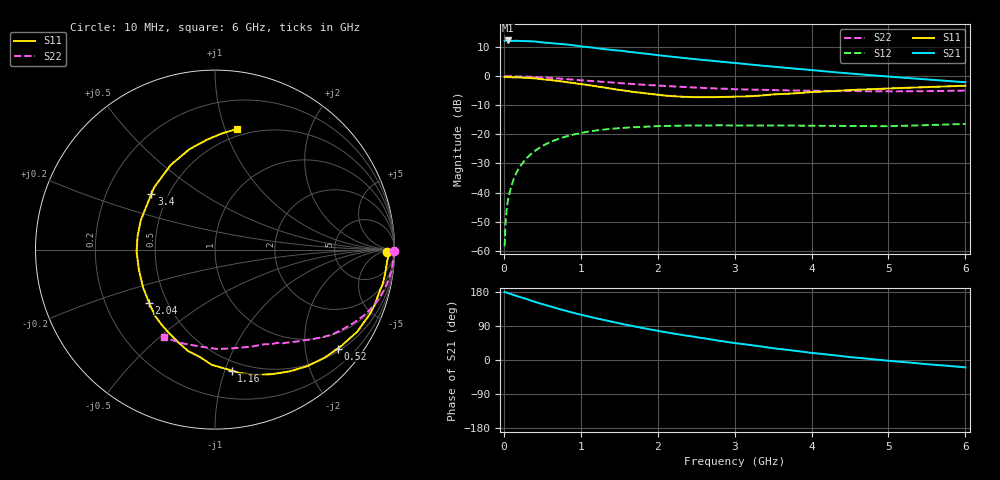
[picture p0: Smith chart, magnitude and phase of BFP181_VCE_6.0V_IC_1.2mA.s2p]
! Infineon Technologies  Discrete & RF Semiconductors
! BFP181
! VCE = 6.0 V,  IC =  1.2 mA
! Common Emitter S-Parameters:  Jan 2016
# GHz  S  MA  R  50
!  f  S11  S21  S12  S22
! GHz  MAG  ANG  MAG  ANG  MAG  ANG  MAG  ANG
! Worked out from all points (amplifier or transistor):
!   210 points, 10 MHz to 6 GHz, reference 50 ohm
!   highest |S21| = 12.2 dB at 50 MHz (marker M1)
!   |S21| within 3 dB of that: start of sweep to 1.315 GHz
!   unconditionally stable (mu >= 1): 2.975 GHz to end of sweep
!   at 185 MHz: K = 0.07, MSG = 22.1 dB, |S12| = -32.1 dB
!   at 1.52 GHz: K = 0.55, MSG = 13.3 dB, |S12| = -17.8 dB
!   at 6 GHz: K = 1.24, MAG = 4.2 dB, |S12| = -16.4 dB
!   S11 on the Smith chart (normalised r, x): 10 MHz: 44, -15; 520 MHz: 0.57, -2.73; 1.16 GHz: 0.42, -1.06; 2.04 GHz: 0.40, -0.30; 3.4 GHz: 0.40, +0.32; 6 GHz: 0.44, +1.10
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0.01  0.9605 -0.8  4.039 179.5  0.0012 82.1  0.9991 -0.3
0.02  0.9681 -1.6  4.094 179.2  0.0027 87.1  0.9948 -0.7
0.025  0.967 -2.0  4.094 178.8  0.0034 88.1  0.995 -0.9
0.05  0.9618 -3.8  4.096 176.7  0.0069 90.1  0.9963 -1.9
0.11  0.9569 -8.5  4.015 172.8  0.0146 83.3  0.9945 -3.9
0.2  0.9445 -15.2  4.033 166.7  0.0269 80.4  0.9892 -7.2
0.4  0.915 -30.0  3.942 153.5  0.0515 70.4  0.9659 -14.0
0.52  0.878 -38.9  3.774 146.2  0.0651 64.3  0.9466 -17.8
0.8  0.7966 -58.3  3.519 130.0  0.0911 53.5  0.8927 -25.7
0.9  0.7628 -65.5  3.401 124.5  0.099 49.4  0.8701 -28.3
1.02  0.7265 -73.2  3.224 118.7  0.1063 45.4  0.8462 -31.0
1.16  0.6806 -82.1  3.075 111.9  0.1147 40.6  0.8211 -34.1
1.58  0.5606 -110.2  2.658 93.3  0.1299 30.1  0.7471 -41.6
2.02  0.4746 -139.9  2.277 76.4  0.1387 21.6  0.6867 -48.2
2.04  0.4712 -141.2  2.261 75.7  0.1389 21.3  0.6842 -48.5
2.2  0.4531 -152.1  2.145 69.8  0.1401 18.8  0.6643 -50.9
2.6  0.4369 -178.7  1.89 57.2  0.1416 13.8  0.6237 -56.4
3.1  0.4464 153.2  1.632 42.3  0.1417 8.9  0.5912 -63.6
3.4  0.4708 138.9  1.494 34.1  0.142 6.8  0.5798 -68.1
4.1  0.5386 114.9  1.233 16.7  0.14 3.4  0.5579 -80.6
5.1  0.6204 92.5  0.96 -3.7  0.1391 3.1  0.5464 -100.8
6  0.6836 79.6  0.784 -19.4  0.1511 3.8  0.565 -120.0
